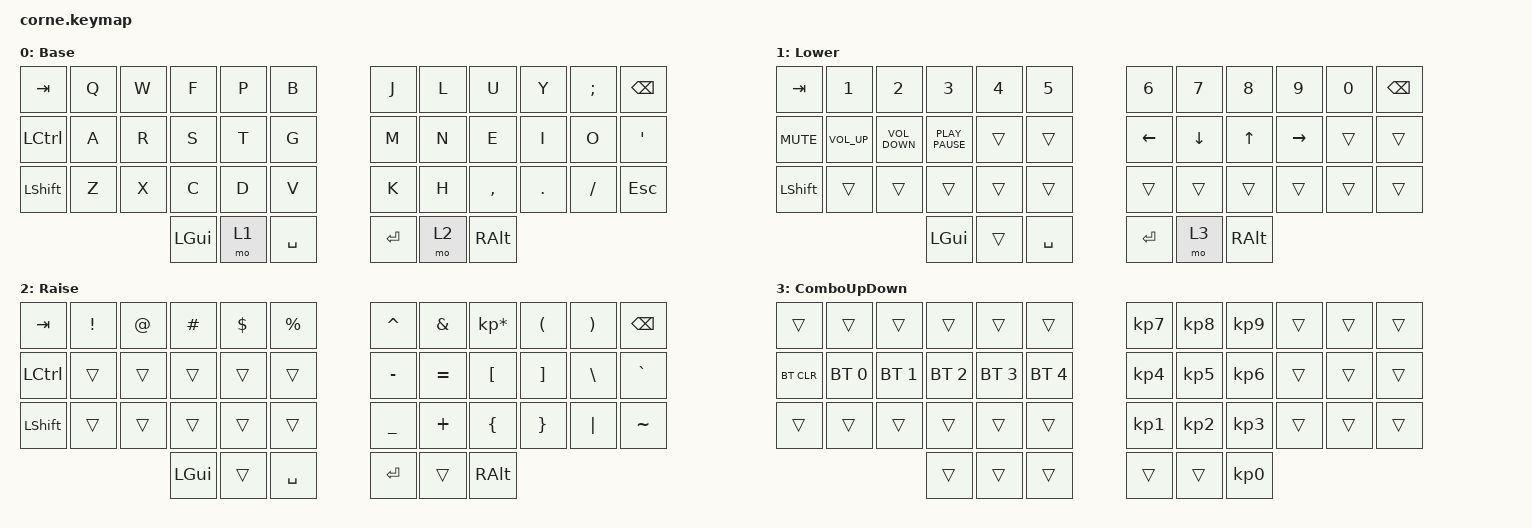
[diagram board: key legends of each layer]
/*
 * Copyright (c) 2020 The ZMK Contributors
 *
 * SPDX-License-Identifier: MIT
 */

#include <behaviors.dtsi>
#include <dt-bindings/zmk/bt.h>
#include <dt-bindings/zmk/keys.h>

/ {
    keymap {
        compatible = "zmk,keymap";

        default_layer {
            // -----------------------------------------------------------------------------------------
            // |  TAB |  Q  |  W  |  F  |  P  |  B  |   |  J  |  L   |  U  |  Y  |  ;  | BKSP |
            // | CTRL |  A  |  R  |  S  |  T  |  G  |   |  M  |  N   |  E  |  I  |  O  |  '   |
            // | SHFT |  Z  |  X  |  C  |  D  |  V  |   |  K  |  H   |  ,  |  .  |  /  | ESC  |
            //                    | GUI | LWR | SPC |   | ENT | RSE  | ALT |

            label = "Base";
            bindings = <
  &kp TAB  &kp Q  &kp W     &kp F  &kp P      &kp B      &kp J  &kp L      &kp U    &kp Y  &kp SEMI  &kp BSPC
&kp LCTRL  &kp A  &kp R     &kp S  &kp T      &kp G      &kp M  &kp N      &kp E    &kp I     &kp O   &kp SQT
&kp LSHFT  &kp Z  &kp X     &kp C  &kp D      &kp V      &kp K  &kp H  &kp COMMA  &kp DOT  &kp FSLH   &kp ESC
                         &kp LGUI  &mo 1  &kp SPACE    &kp RET  &mo 2   &kp RALT
            >;
        };

        lower_layer {
            // -----------------------------------------------------------------------------------------
            // |  TAB |  1  |  2  |  3  |  4  |  5  |   |  6  |  7  |  8  |  9  |  0  | BKSP |
            // | BTCLR| BT1 | BT2 | BT3 | BT4 | BT5 |   | LFT | DWN |  UP | RGT |     |      |
            // | SHFT |     |     |     |     |     |   |     |     |     |     |     |      |
            //                    | GUI |     | SPC |   | ENT |     | ALT |

            label = "Lower";
            bindings = <
   &kp TAB           &kp N1             &kp N2            &kp N3  &kp N4     &kp N5      &kp N6    &kp N7    &kp N8     &kp N9  &kp N0  &kp BSPC
&kp K_MUTE  &kp C_VOLUME_UP  &kp C_VOLUME_DOWN  &kp K_PLAY_PAUSE  &trans     &trans    &kp LEFT  &kp DOWN    &kp UP  &kp RIGHT  &trans    &trans
 &kp LSHFT           &trans             &trans            &trans  &trans     &trans      &trans    &trans    &trans     &trans  &trans    &trans
                                                        &kp LGUI  &trans  &kp SPACE     &kp RET     &mo 3  &kp RALT
            >;
        };

        raise_layer {
            // -----------------------------------------------------------------------------------------
            // |  TAB |  !  |  @  |  #  |  $  |  %  |   |  ^  |  &  |  *  |  (  |  )  | BKSP |
            // | CTRL |     |     |     |     |     |   |  -  |  =  |  [  |  ]  |  \  |  `   |
            // | SHFT |     |     |     |     |     |   |  _  |  +  |  {  |  }  | "|" |  ~   |
            //                    | GUI |     | SPC |   | ENT |     | ALT |

            label = "Raise";
            bindings = <
  &kp TAB  &kp EXCL  &kp AT  &kp HASH  &kp DLLR  &kp PRCNT    &kp CARET   &kp AMPS  &kp KP_MULTIPLY  &kp LPAR  &kp RPAR   &kp BSPC
&kp LCTRL    &trans  &trans    &trans    &trans     &trans    &kp MINUS  &kp EQUAL         &kp LBKT  &kp RBKT  &kp BSLH  &kp GRAVE
&kp LSHFT    &trans  &trans    &trans    &trans     &trans    &kp UNDER   &kp PLUS         &kp LBRC  &kp RBRC  &kp PIPE  &kp TILDE
                             &kp LGUI    &trans  &kp SPACE      &kp RET     &trans         &kp RALT
            >;
        };

        ComboUpDown {
            bindings = <
    &trans        &trans        &trans        &trans        &trans        &trans    &kp KP_NUMBER_7  &kp KP_NUMBER_8  &kp KP_NUMBER_9  &trans  &trans  &trans
&bt BT_CLR  &bt BT_SEL 0  &bt BT_SEL 1  &bt BT_SEL 2  &bt BT_SEL 3  &bt BT_SEL 4    &kp KP_NUMBER_4  &kp KP_NUMBER_5  &kp KP_NUMBER_6  &trans  &trans  &trans
    &trans        &trans        &trans        &trans        &trans        &trans    &kp KP_NUMBER_1  &kp KP_NUMBER_2  &kp KP_NUMBER_3  &trans  &trans  &trans
                                              &trans        &trans        &trans             &trans           &trans  &kp KP_NUMBER_0
            >;
        };
    };
};
